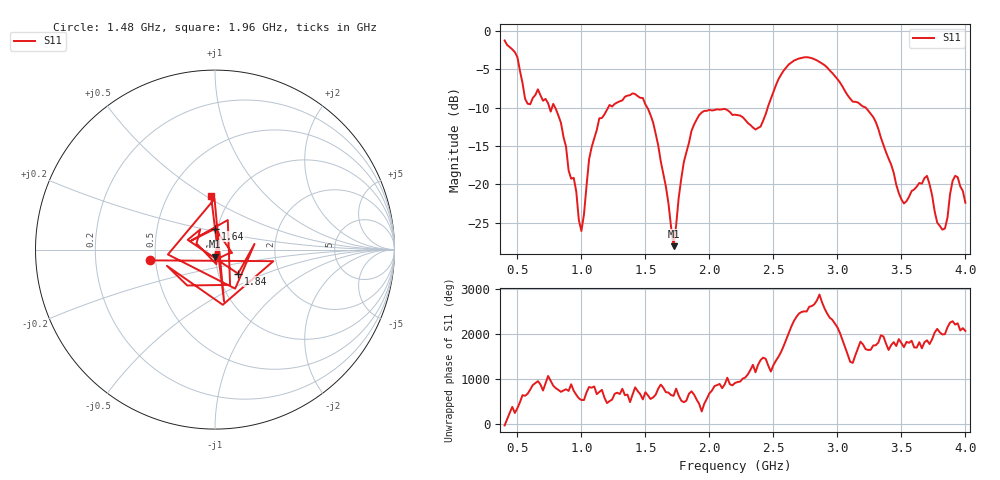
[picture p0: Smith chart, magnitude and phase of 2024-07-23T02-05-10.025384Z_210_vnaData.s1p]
!Created with skrf (http://scikit-rf.org).
# Hz S RI R 50.0
!freq ReS11 ImS11
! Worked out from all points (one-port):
!   181 points, 400 MHz to 4 GHz, reference 50 ohm
!   lowest |S11| = -28.1 dB at 1.72 GHz (marker M1), VSWR 1.08, Z = 49.7 - j3.93 ohm
!   |S11| at or under -10 dB: 794.7 MHz to 1.209 GHz (414.3 MHz wide, 41.4 % of centre); 1.514 GHz to 2.456 GHz (941.4 MHz wide, 47.4 % of centre); 3.221 GHz to end of sweep (the widest 3 of 4)
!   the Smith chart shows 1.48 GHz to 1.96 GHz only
!   S11 on the Smith chart (normalised r, x): 1.48 GHz: 0.47, -0.06; 1.64 GHz: 0.98, +0.23; 1.84 GHz: 1.24, -0.34; 1.96 GHz: 0.80, +0.53
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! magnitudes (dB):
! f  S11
! 400 MHz  -1.3
! 500 MHz  -3.4
! 580 MHz  -9.5
! 660 MHz  -7.6
! 780 MHz  -9.5
! 860 MHz  -13.8
! 1 GHz  -26.1
! 1.06 GHz  -16.8
! 1.14 GHz  -11.4
! 1.3 GHz  -9.2
! 1.48 GHz  -8.8
! 1.64 GHz  -18.7
! 1.72 GHz  -28.1
! 1.76 GHz  -21.8
! 1.84 GHz  -14.6
! 1.96 GHz  -10.4
! 2.2 GHz  -10.9
! 2.4 GHz  -12.5
! 2.66 GHz  -3.9
! 2.9 GHz  -4.5
! 3.1 GHz  -8.8
! 3.28 GHz  -11.2
! 3.5 GHz  -22.0
! 3.56 GHz  -21.6
! 3.7 GHz  -18.9
! 3.82 GHz  -25.9
! 3.92 GHz  -18.9
! 4 GHz  -22.4
